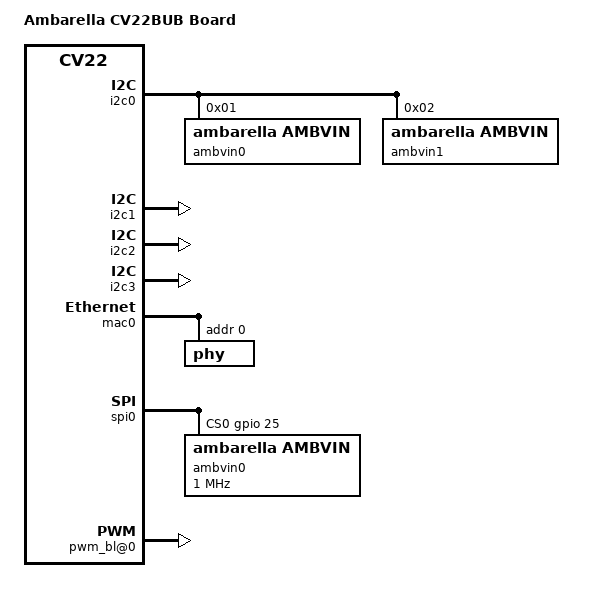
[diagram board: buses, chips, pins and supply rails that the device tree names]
/*
 * Copyright (C) 2013 Ambarella,Inc. - http://www.ambarella.com/
 * Author: Cao Rongrong <rrcao@ambarella.com>
 *
 * This program is free software; you can redistribute it and/or modify
 * it under the terms of the GNU General Public License version 2 as
 * published by the Free Software Foundation.
 */
/dts-v1/;

/include/ "ambarella-cv22.dtsi"

/ {
	model = "Ambarella CV22BUB Board";
	compatible = "ambarella,cv22bub", "ambarella,cv22";

	chosen {
		bootargs = "console=ttyS0 ubi.mtd=lnx root=ubi0:rootfs rw rootfstype=ubifs init=/linuxrc";
	};

	n_apb@e4000000 {
		i2c0: i2c@e4008000 {
			status = "ok";

			ambvin0@01 {
				compatible = "ambarella,ambvin";
				reg = <0x01>;	/* fake address, will be overwritten in runtime */
			};

			ambvin1@02 {
				compatible = "ambarella,ambvin";
				reg = <0x02>;	/* fake address, will be overwritten in runtime */
			};
		};

		i2c1: i2c@e4009000 {
			status = "ok";
			  };

		i2c2: i2c@e400a000 {
			status = "ok";
		};

		i2c3: i2c@e400b000 {
			status = "ok";
		};
	};

	n_ahb@e0000000 {
		sdmmc0: sdmmc0@e0004000 {
			pwr-gpios = <&gpio 109 0x1>;
			v18-gpios = <&gpio 156 0x1>;
		};

		sdmmc2: sdmmc2@e0005000 {
			pwr-gpios = <&gpio 110 0x1>;
			v18-gpios = <&gpio 157 0x1>;
		};

		mac0: ethernet@e000e000 {
			amb,tx-clk-invert;

#if 0		/* case: AHB mdcmdio */
			pinctrl-0 = <&rgmii_pins &ahb_mdio_pins>;
			amb,ahb_mdio_bus;
			amb,ahb-12mhz-div = <1>;
#endif
			phy@0 {
				reg = <0>;
			};
		};

		spi0: spi@e0011000 {
			status = "ok";
			cs-gpios = <&gpio 25 0>;

			ambvin0@0 {
				compatible = "ambarella,ambvin";
				reg = <0>;
				spi-max-frequency = <1000000>;
				spi-cpha;
				spi-cpol;
			};
		};

		hdmi@e000b000 {
			amb,i2c-adapter = <2>;
		};
	};

	rct@ed080000 {
		usbphy: usbphy@ed080050 {
			/* high will trigger the ocp interrupt */
			amb,ocp-polarity = <0>;
			pinctrl-names = "default";
			pinctrl-0 = <&usb_host0_pins_a>;
		};
	};

	bogus_bus {
		pwm_bl@0 {
			compatible = "pwm-backlight";
			reg = <0>;
			pwms = <&pwm0 0 40000 0>;
			pinctrl-names = "default";
			pinctrl-0 = <&pwm0_pins_b>;
			brightness-levels = <0 4 8 16 32 64 128 255>;
			default-brightness-level = <7>;
		};
	};

	iav {
		/* node for vin controller */
		vinc0 {
			vinrst-gpios = <&gpio 113 0>;
			/* vinpwr-gpios = <>; */
		};
	};
};

